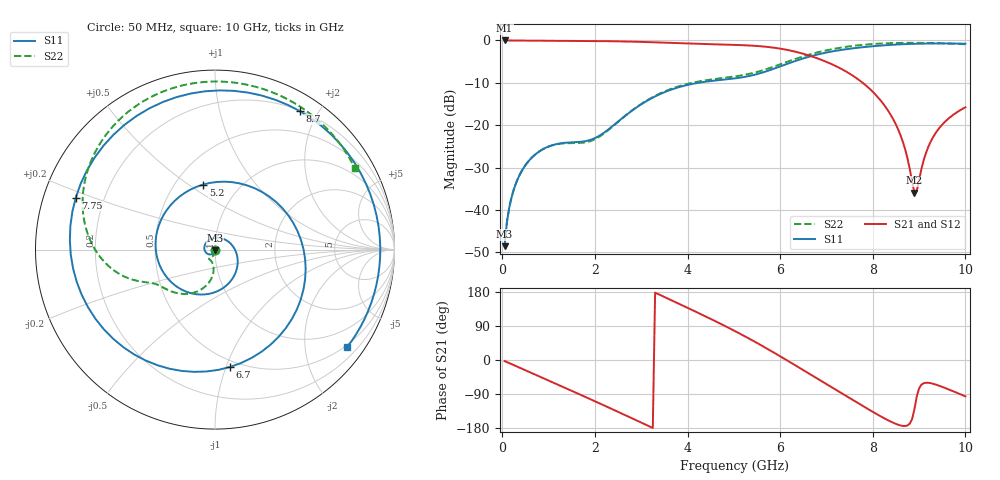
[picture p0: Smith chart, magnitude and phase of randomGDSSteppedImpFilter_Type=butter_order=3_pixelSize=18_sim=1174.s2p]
! freq	dB(S11)	phase(S11)	dB(S12)	phase(S12)
!  dB(S21)	phase(S21)	dB(S22)	phase(S22)
!S-par simulation data
#  GHz  S  DB  R 50
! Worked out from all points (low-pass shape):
!   200 points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, 50 MHz to 10 GHz, reference 50 ohm
!   highest |S21| = -0.01 dB at 50 MHz (marker M1); lowest = -35.9 dB at 8.9 GHz (marker M2)
!   |S21| within 3 dB of the highest: start of sweep to 6.453 GHz
!   lowest |S11| = -48.5 dB at 50 MHz (marker M3), VSWR 1.01, Z = 50 - j0.374 ohm
!   |S11| at or under -10 dB: start of sweep to 4.231 GHz
!   |S22| runs from -48.5 to -0.6 dB; largest |S21 - S12| = 0
!   S11 on the Smith chart (normalised r, x): 50 MHz: 1.00, -0.01; 5.2 GHz: 0.68, +0.57; 6.7 GHz: 0.45, -1.03; 7.75 GHz: 0.10, +0.18; 8.7 GHz: 0.21, +1.76; 10 GHz: 0.45, -2.98
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0.05  -48.53 -90.3  -0.01 -2.7  -0.01 -2.7  -48.47 -87.5
0.2  -37.03 -104.1  -0.02 -10.9  -0.02 -10.9  -36.93 -95.6
0.5  -29.44 -128.5  -0.04 -27.1  -0.04 -27.1  -29.40 -106.6
1.15  -24.50 175.6  -0.08 -62.3  -0.08 -62.3  -24.56 -122.5
1.75  -23.84 105.2  -0.12 -95.1  -0.12 -95.1  -24.10 -117.1
2.65  -17.82 -16.3  -0.25 -145.3  -0.25 -145.3  -17.81 -94.2
3.4  -12.69 -86.5  -0.49 172.1  -0.49 172.1  -12.54 -109.3
4.3  -9.88 -164.7  -0.83 120.3  -0.83 120.3  -9.57 -134.6
5.05  -8.92 118.0  -1.06 74.7  -1.06 74.7  -8.45 -149.1
5.2  -8.67 100.3  -1.12 65.0  -1.12 65.0  -8.18 -151.1
5.6  -7.64 50.5  -1.40 38.1  -1.40 38.1  -7.13 -155.9
6.05  -5.94 -6.0  -2.03 6.2  -2.03 6.2  -5.45 -164.1
6.35  -4.77 -42.2  -2.72 -15.7  -2.72 -15.7  -4.30 -172.4
6.7  -3.62 -82.6  -3.83 -41.5  -3.83 -41.5  -3.13 175.6
7.15  -2.55 -133.2  -5.79 -74.6  -5.79 -74.6  -2.01 158.2
7.45  -2.04 -166.8  -7.51 -96.7  -7.51 -96.7  -1.47 145.8
7.75  -1.64 159.5  -9.72 -118.8  -9.72 -118.8  -1.08 133.1
8.35  -1.07 93.6  -16.90 -160.3  -16.90 -160.3  -0.65 107.0
8.7  -0.87 58.6  -25.71 -174.1  -25.71 -174.1  -0.57 91.5
8.9  -0.79 40.4  -35.89 -129.6  -35.89 -129.6  -0.57 82.5
9.3  -0.72 8.2  -22.86 -62.6  -22.86 -62.6  -0.63 64.2
10  -0.77 -36.4  -15.77 -95.9  -15.77 -95.9  -0.90 30.2
